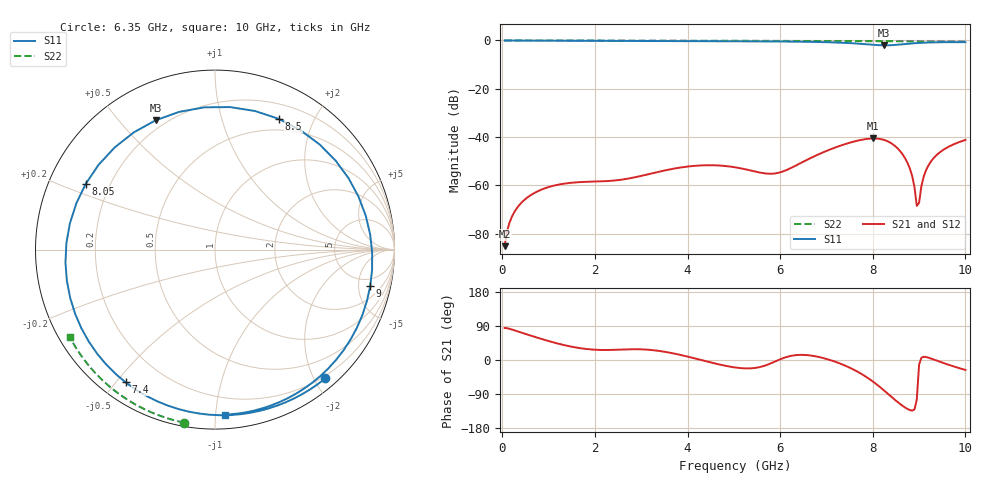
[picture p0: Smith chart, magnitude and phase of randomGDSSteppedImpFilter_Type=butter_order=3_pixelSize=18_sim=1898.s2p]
! freq	dB(S11)	phase(S11)	dB(S12)	phase(S12)
!  dB(S21)	phase(S21)	dB(S22)	phase(S22)
!S-par simulation data
#  GHz  S  DB  R 50
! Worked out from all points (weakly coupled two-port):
!   200 points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, 50 MHz to 10 GHz, reference 50 ohm
!   highest |S21| = -40.60 dB at 8 GHz (marker M1); lowest = -85.2 dB at 50 MHz (marker M2)
!   lowest |S11| = -2.0 dB at 8.25 GHz (marker M3), VSWR 8.65, Z = 8.11 + j31.4 ohm
!   |S11| at or under -10 dB: nowhere
!   |S22| runs from -0.5 to 0.0 dB; largest |S21 - S12| = 0
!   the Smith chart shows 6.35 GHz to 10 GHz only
!   S11 on the Smith chart (normalised r, x): 6.35 GHz: 0.16, -2.17; 7.4 GHz: 0.07, -0.53; 8.05 GHz: 0.11, +0.24; 8.5 GHz: 0.36, +1.54; 9 GHz: 3.56, -6.84; 10 GHz: 0.09, -1.06
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0.05  -0.02 -3.5  -85.19 84.5  -85.19 84.5  -0.00 -0.9
0.6  -0.06 -40.7  -64.23 64.9  -64.23 64.9  -0.02 -10.3
1.75  -0.14 -115.3  -58.59 30.0  -58.59 30.0  -0.04 -29.8
2.6  -0.19 -168.2  -57.59 27.8  -57.59 27.8  -0.06 -43.8
3.4  -0.23 141.2  -54.29 23.8  -54.29 23.8  -0.08 -56.6
4.2  -0.28 88.6  -51.85 2.9  -51.85 2.9  -0.10 -68.9
5.05  -0.33 32.2  -52.60 -20.1  -52.60 -20.1  -0.13 -81.6
5.7  -0.39 -9.3  -55.10 -13.6  -55.10 -13.6  -0.15 -91.0
6.35  -0.49 -49.4  -51.70 13.0  -51.70 13.0  -0.18 -100.1
6.7  -0.59 -71.5  -48.31 11.1  -48.31 11.1  -0.20 -104.9
7.4  -1.00 -123.9  -42.94 -14.7  -42.94 -14.7  -0.25 -114.4
8  -1.78 161.5  -40.60 -56.6  -40.60 -56.6  -0.30 -122.5
8.05  -1.85 152.9  -40.60 -61.2  -40.60 -61.2  -0.30 -123.1
8.25  -2.02 114.7  -41.24 -81.1  -41.24 -81.1  -0.32 -125.8
8.35  -1.99 94.2  -42.03 -91.6  -42.03 -91.6  -0.33 -127.1
8.5  -1.83 64.0  -44.03 -107.3  -44.03 -107.3  -0.34 -129.1
8.8  -1.30 12.6  -53.01 -132.1  -53.01 -132.1  -0.37 -133.0
8.95  -1.09 -7.3  -68.49 -105.0  -68.49 -105.0  -0.38 -135.0
9  -1.03 -13.2  -67.24 -12.3  -67.24 -12.3  -0.39 -135.7
9.1  -0.93 -24.0  -56.38 8.5  -56.38 8.5  -0.40 -137.0
9.25  -0.82 -38.0  -50.29 4.2  -50.29 4.2  -0.41 -139.0
10  -0.71 -86.4  -41.20 -26.2  -41.20 -26.2  -0.50 -149.0
